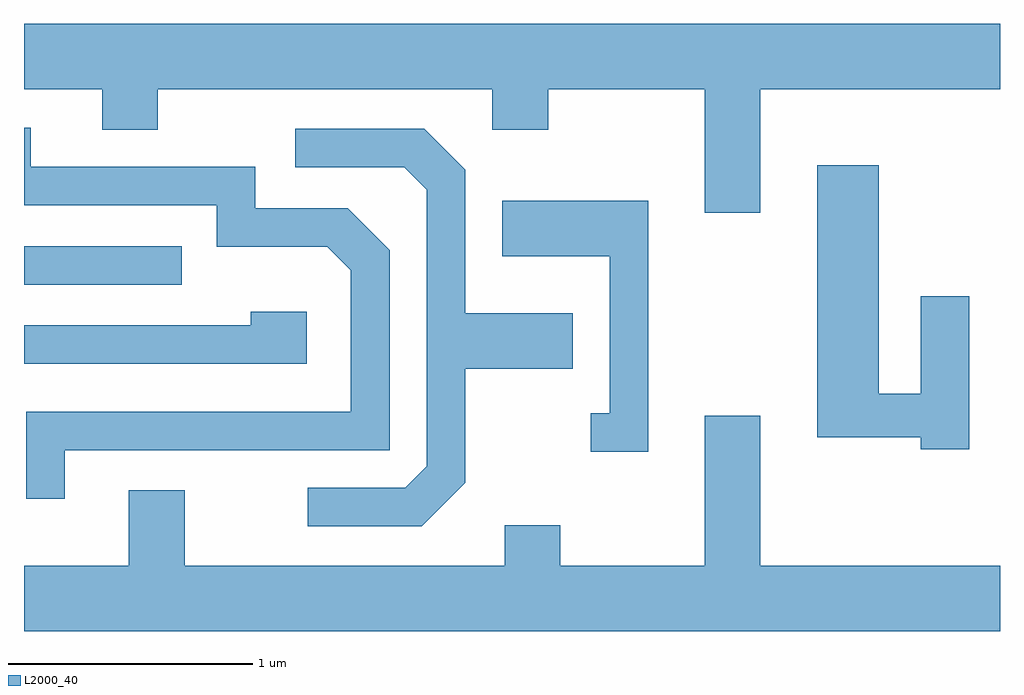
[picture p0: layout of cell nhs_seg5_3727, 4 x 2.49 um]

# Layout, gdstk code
import gdstk
lib = gdstk.Library(unit=1e-6, precision=1e-09)
def R(c, l, rs):  # rectangles x0, y0, x1, y1
    for r in rs: c.add(gdstk.rectangle(r[:2], r[2:], *l))
def P(c, l, *ps):  # polygons
    for p in ps: c.add(gdstk.Polygon(p, *l))
L2000_40 = (2000, 40)

nhs_seg5_3727 = lib.new_cell('nhs_seg5_3727')
R(nhs_seg5_3727, L2000_40, [(295.611,1462.656,296.258,1462.814)])
P(nhs_seg5_3727, L2000_40, [(298.629,1463.456),(299.611,1463.456),(299.611,1463.724),(295.611,1463.724),(295.611,1463.456),(295.931,1463.456),(295.931,1463.291),(296.159,1463.291),(296.159,1463.456),(297.531,1463.456),(297.531,1463.291),(297.759,1463.291),(297.759,1463.456),(298.401,1463.456),(298.401,1462.951),(298.629,1462.951)],
  [(295.779,1461.976),(297.109,1461.976),(297.109,1462.797),(296.937,1462.969),(296.559,1462.969),(296.559,1463.139),(295.639,1463.139),(295.639,1463.299),(295.611,1463.299),(295.611,1462.981),(296.401,1462.981),(296.401,1462.811),(296.854,1462.811),(296.951,1462.714),(296.951,1462.134),(295.621,1462.134),(295.621,1461.778),(295.779,1461.778)],
  [(297.419,1461.844),(297.419,1462.311),(297.859,1462.311),(297.859,1462.539),(297.419,1462.539),(297.419,1463.127),(297.252,1463.294),(296.723,1463.294),(296.723,1463.136),(297.169,1463.136),(297.261,1463.044),(297.261,1461.912),(297.174,1461.824),(296.773,1461.824),(296.773,1461.666),(297.242,1461.666)],
  [(299.484,1462.609),(299.286,1462.609),(299.286,1462.209),(299.114,1462.209),(299.114,1463.144),(298.861,1463.144),(298.861,1462.031),(299.286,1462.031),(299.286,1461.981),(299.484,1461.981)],
  [(298.169,1462.999),(297.571,1462.999),(297.571,1462.771),(298.011,1462.771),(298.011,1462.129),(297.933,1462.129),(297.933,1461.971),(298.169,1461.971)],
  [(296.769,1462.544),(296.541,1462.544),(296.541,1462.489),(295.611,1462.489),(295.611,1462.331),(296.769,1462.331)],
  [(299.611,1461.504),(298.629,1461.504),(298.629,1462.119),(298.401,1462.119),(298.401,1461.504),(297.809,1461.504),(297.809,1461.669),(297.581,1461.669),(297.581,1461.504),(296.269,1461.504),(296.269,1461.814),(296.041,1461.814),(296.041,1461.504),(295.611,1461.504),(295.611,1461.236),(299.611,1461.236)])

lib.write_gds('nhs_seg5_3727.gds')
